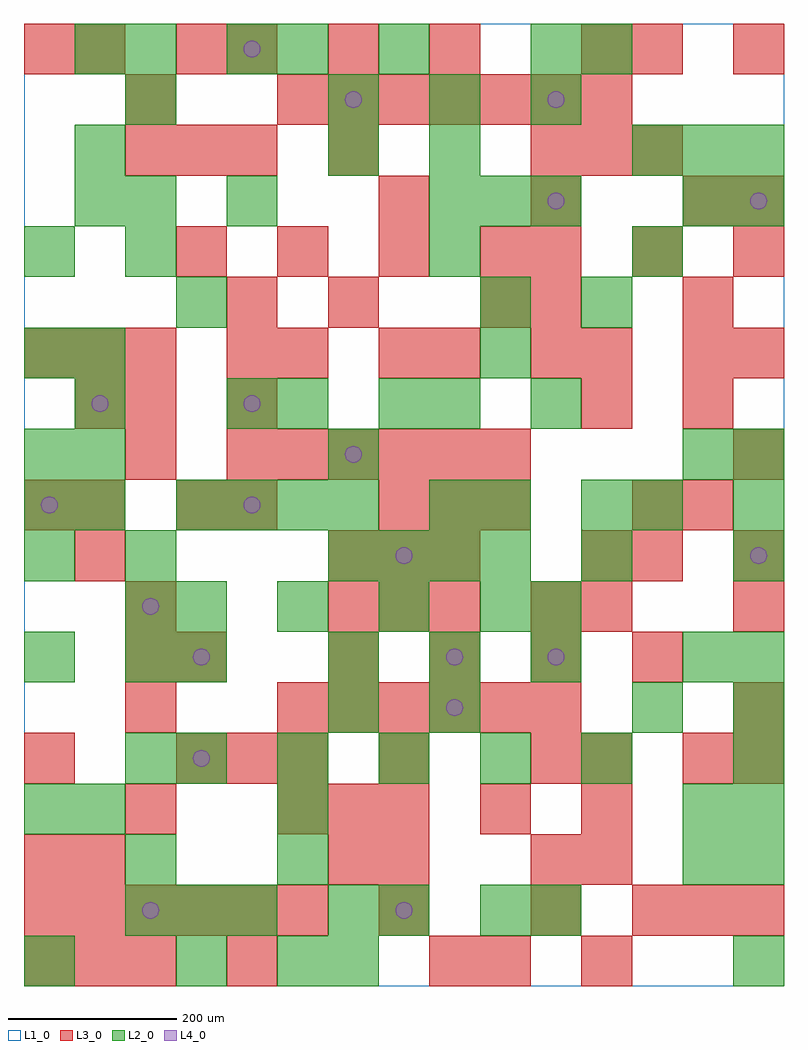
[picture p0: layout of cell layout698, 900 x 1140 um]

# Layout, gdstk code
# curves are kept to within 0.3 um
import gdstk
lib = gdstk.Library(unit=1e-6, precision=1e-09)
def R(c, l, rs):  # rectangles x0, y0, x1, y1
    for r in rs: c.add(gdstk.rectangle(r[:2], r[2:], *l))
def A(c, l, x, y, w, h, nx, ny, dx, dy):  # array of equal rectangles
    R(c, l, [(x+i*dx, y+j*dy, x+i*dx+w, y+j*dy+h) for i in range(nx) for j in range(ny)])
def P(c, l, *ps):  # polygons
    for p in ps: c.add(gdstk.Polygon(p, *l))
L1_0 = (1, 0)
L2_0 = (2, 0)
L3_0 = (3, 0)
L4_0 = (4, 0)

layout698 = lib.new_cell('layout698')
R(layout698, L1_0, [(0,0,900,1140)])
A(layout698, L2_0, 0, 0, 60, 60, 1, 3, 0, 180)
A(layout698, L2_0, 120, 60, 60, 60, 3, 1, 60, 0)
A(layout698, L2_0, 120, 120, 60, 60, 1, 3, 0, 120)
A(layout698, L2_0, 840, 120, 60, 60, 1, 5, 0, 60)
A(layout698, L2_0, 180, 240, 60, 60, 5, 1, 120, 0)
A(layout698, L2_0, 360, 360, 60, 60, 3, 2, 120, 660)
A(layout698, L2_0, 180, 420, 60, 60, 4, 1, 120, 0)
A(layout698, L2_0, 0, 480, 60, 60, 1, 3, 0, 60)
A(layout698, L2_0, 360, 480, 60, 60, 4, 1, 60, 0)
A(layout698, L2_0, 840, 480, 60, 60, 1, 3, 0, 60)
A(layout698, L2_0, 60, 540, 60, 60, 1, 4, 0, 60)
A(layout698, L2_0, 180, 540, 60, 60, 4, 1, 60, 0)
A(layout698, L2_0, 480, 900, 60, 60, 3, 1, 60, 0)
A(layout698, L2_0, 720, 960, 60, 60, 3, 1, 60, 0)
R(layout698, L2_0, [(180,0,240,60), (300,0,360,60), (360,0,420,60), (840,0,900,60), (360,60,420,120), (420,60,480,120), (540,60,600,120), (600,60,660,120), (300,120,360,180), (780,120,840,180), (60,180,120,240), (300,180,360,240), (780,180,840,240), (360,300,420,360), (480,300,540,360), (720,300,780,360), (180,360,240,420), (780,360,840,420), (120,420,180,480), (600,420,660,480), (120,480,180,540), (660,480,720,540), (480,540,540,600), (540,540,600,600), (660,540,720,600), (720,540,780,600), (360,600,420,660), (780,600,840,660), (240,660,300,720), (300,660,360,720), (420,660,480,720), (480,660,540,720), (600,660,660,720), (0,720,60,780), (540,720,600,780), (180,780,240,840), (540,780,600,840), (660,780,720,840), (0,840,60,900), (120,840,180,900), (480,840,540,900), (720,840,780,900), (60,900,120,960), (120,900,180,960), (240,900,300,960), (780,900,840,960), (840,900,900,960), (60,960,120,1020), (360,960,420,1020), (480,960,540,1020), (120,1020,180,1080), (60,1080,120,1140), (120,1080,180,1140), (240,1080,300,1140), (300,1080,360,1140), (420,1080,480,1140), (600,1080,660,1140), (660,1080,720,1140)])
A(layout698, L3_0, 0, 0, 60, 60, 3, 2, 60, 720)
A(layout698, L3_0, 0, 60, 60, 60, 6, 1, 60, 0)
A(layout698, L3_0, 720, 60, 60, 60, 3, 1, 60, 0)
A(layout698, L3_0, 660, 120, 60, 60, 1, 3, 0, 60)
A(layout698, L3_0, 300, 180, 60, 60, 3, 1, 60, 0)
A(layout698, L3_0, 180, 240, 60, 60, 3, 1, 60, 0)
A(layout698, L3_0, 120, 300, 60, 60, 1, 3, 0, 60)
A(layout698, L3_0, 300, 300, 60, 60, 6, 1, 60, 0)
A(layout698, L3_0, 360, 360, 60, 60, 4, 1, 120, 0)
A(layout698, L3_0, 360, 420, 60, 60, 3, 2, 60, 60)
A(layout698, L3_0, 840, 480, 60, 60, 1, 3, 0, 120)
A(layout698, L3_0, 420, 540, 60, 60, 3, 1, 60, 0)
A(layout698, L3_0, 240, 600, 60, 60, 6, 1, 60, 0)
A(layout698, L3_0, 240, 660, 60, 60, 1, 3, 0, 60)
A(layout698, L3_0, 780, 660, 60, 60, 1, 3, 0, 60)
A(layout698, L3_0, 180, 840, 60, 60, 4, 1, 120, 0)
A(layout698, L3_0, 600, 840, 60, 60, 3, 1, 120, 0)
A(layout698, L3_0, 420, 900, 60, 60, 3, 1, 180, 0)
A(layout698, L3_0, 120, 960, 60, 60, 3, 1, 60, 0)
A(layout698, L3_0, 600, 960, 60, 60, 3, 1, 60, 0)
A(layout698, L3_0, 300, 1020, 60, 60, 7, 1, 60, 0)
A(layout698, L3_0, 240, 1080, 60, 60, 3, 1, 120, 0)
R(layout698, L3_0, [(240,0,300,60), (480,0,540,60), (540,0,600,60), (660,0,720,60), (420,60,480,120), (600,60,660,120), (0,120,60,180), (60,120,120,180), (360,120,420,180), (420,120,480,180), (600,120,660,180), (120,180,180,240), (540,180,600,240), (0,240,60,300), (420,240,480,300), (600,240,660,300), (780,240,840,300), (840,240,900,300), (840,300,900,360), (180,360,240,420), (600,420,660,480), (660,420,720,480), (840,420,900,480), (60,480,120,540), (660,480,720,540), (720,480,780,540), (0,540,60,600), (60,540,120,600), (180,540,240,600), (240,540,300,600), (720,540,780,600), (780,540,840,600), (120,600,180,660), (60,660,120,720), (120,660,180,720), (660,660,720,720), (300,720,360,780), (420,720,480,780), (480,720,540,780), (600,720,660,780), (660,720,720,780), (360,780,420,840), (540,780,600,840), (600,780,660,840), (840,900,900,960), (360,960,420,1020), (120,1020,180,1080), (0,1080,60,1140), (60,1080,120,1140), (180,1080,240,1140), (660,1080,720,1140), (720,1080,780,1140), (840,1080,900,1140)])
P(layout698, L4_0, [(40,570),(39.239,573.827),(37.071,577.071),(33.827,579.239),(30,580),(26.173,579.239),(22.929,577.071),(20.761,573.827),(20,570),(20.761,566.173),(22.929,562.929),(26.173,560.761),(30,560),(33.827,560.761),(37.071,562.929),(39.239,566.173)],
  [(100,690),(99.239,693.827),(97.071,697.071),(93.827,699.239),(90,700),(86.173,699.239),(82.929,697.071),(80.761,693.827),(80,690),(80.761,686.173),(82.929,682.929),(86.173,680.761),(90,680),(93.827,680.761),(97.071,682.929),(99.239,686.173)],
  [(160,90),(159.239,93.827),(157.071,97.071),(153.827,99.239),(150,100),(146.173,99.239),(142.929,97.071),(140.761,93.827),(140,90),(140.761,86.173),(142.929,82.929),(146.173,80.761),(150,80),(153.827,80.761),(157.071,82.929),(159.239,86.173)],
  [(160,450),(159.239,453.827),(157.071,457.071),(153.827,459.239),(150,460),(146.173,459.239),(142.929,457.071),(140.761,453.827),(140,450),(140.761,446.173),(142.929,442.929),(146.173,440.761),(150,440),(153.827,440.761),(157.071,442.929),(159.239,446.173)],
  [(220,270),(219.239,273.827),(217.071,277.071),(213.827,279.239),(210,280),(206.173,279.239),(202.929,277.071),(200.761,273.827),(200,270),(200.761,266.173),(202.929,262.929),(206.173,260.761),(210,260),(213.827,260.761),(217.071,262.929),(219.239,266.173)],
  [(220,390),(219.239,393.827),(217.071,397.071),(213.827,399.239),(210,400),(206.173,399.239),(202.929,397.071),(200.761,393.827),(200,390),(200.761,386.173),(202.929,382.929),(206.173,380.761),(210,380),(213.827,380.761),(217.071,382.929),(219.239,386.173)],
  [(280,570),(279.239,573.827),(277.071,577.071),(273.827,579.239),(270,580),(266.173,579.239),(262.929,577.071),(260.761,573.827),(260,570),(260.761,566.173),(262.929,562.929),(266.173,560.761),(270,560),(273.827,560.761),(277.071,562.929),(279.239,566.173)],
  [(280,690),(279.239,693.827),(277.071,697.071),(273.827,699.239),(270,700),(266.173,699.239),(262.929,697.071),(260.761,693.827),(260,690),(260.761,686.173),(262.929,682.929),(266.173,680.761),(270,680),(273.827,680.761),(277.071,682.929),(279.239,686.173)],
  [(280,1110),(279.239,1113.827),(277.071,1117.071),(273.827,1119.239),(270,1120),(266.173,1119.239),(262.929,1117.071),(260.761,1113.827),(260,1110),(260.761,1106.173),(262.929,1102.929),(266.173,1100.761),(270,1100),(273.827,1100.761),(277.071,1102.929),(279.239,1106.173)],
  [(400,630),(399.239,633.827),(397.071,637.071),(393.827,639.239),(390,640),(386.173,639.239),(382.929,637.071),(380.761,633.827),(380,630),(380.761,626.173),(382.929,622.929),(386.173,620.761),(390,620),(393.827,620.761),(397.071,622.929),(399.239,626.173)],
  [(400,1050),(399.239,1053.827),(397.071,1057.071),(393.827,1059.239),(390,1060),(386.173,1059.239),(382.929,1057.071),(380.761,1053.827),(380,1050),(380.761,1046.173),(382.929,1042.929),(386.173,1040.761),(390,1040),(393.827,1040.761),(397.071,1042.929),(399.239,1046.173)],
  [(460,90),(459.239,93.827),(457.071,97.071),(453.827,99.239),(450,100),(446.173,99.239),(442.929,97.071),(440.761,93.827),(440,90),(440.761,86.173),(442.929,82.929),(446.173,80.761),(450,80),(453.827,80.761),(457.071,82.929),(459.239,86.173)],
  [(460,510),(459.239,513.827),(457.071,517.071),(453.827,519.239),(450,520),(446.173,519.239),(442.929,517.071),(440.761,513.827),(440,510),(440.761,506.173),(442.929,502.929),(446.173,500.761),(450,500),(453.827,500.761),(457.071,502.929),(459.239,506.173)],
  [(520,330),(519.239,333.827),(517.071,337.071),(513.827,339.239),(510,340),(506.173,339.239),(502.929,337.071),(500.761,333.827),(500,330),(500.761,326.173),(502.929,322.929),(506.173,320.761),(510,320),(513.827,320.761),(517.071,322.929),(519.239,326.173)],
  [(520,390),(519.239,393.827),(517.071,397.071),(513.827,399.239),(510,400),(506.173,399.239),(502.929,397.071),(500.761,393.827),(500,390),(500.761,386.173),(502.929,382.929),(506.173,380.761),(510,380),(513.827,380.761),(517.071,382.929),(519.239,386.173)],
  [(640,390),(639.239,393.827),(637.071,397.071),(633.827,399.239),(630,400),(626.173,399.239),(622.929,397.071),(620.761,393.827),(620,390),(620.761,386.173),(622.929,382.929),(626.173,380.761),(630,380),(633.827,380.761),(637.071,382.929),(639.239,386.173)],
  [(640,930),(639.239,933.827),(637.071,937.071),(633.827,939.239),(630,940),(626.173,939.239),(622.929,937.071),(620.761,933.827),(620,930),(620.761,926.173),(622.929,922.929),(626.173,920.761),(630,920),(633.827,920.761),(637.071,922.929),(639.239,926.173)],
  [(640,1050),(639.239,1053.827),(637.071,1057.071),(633.827,1059.239),(630,1060),(626.173,1059.239),(622.929,1057.071),(620.761,1053.827),(620,1050),(620.761,1046.173),(622.929,1042.929),(626.173,1040.761),(630,1040),(633.827,1040.761),(637.071,1042.929),(639.239,1046.173)],
  [(880,510),(879.239,513.827),(877.071,517.071),(873.827,519.239),(870,520),(866.173,519.239),(862.929,517.071),(860.761,513.827),(860,510),(860.761,506.173),(862.929,502.929),(866.173,500.761),(870,500),(873.827,500.761),(877.071,502.929),(879.239,506.173)],
  [(880,930),(879.239,933.827),(877.071,937.071),(873.827,939.239),(870,940),(866.173,939.239),(862.929,937.071),(860.761,933.827),(860,930),(860.761,926.173),(862.929,922.929),(866.173,920.761),(870,920),(873.827,920.761),(877.071,922.929),(879.239,926.173)])

lib.write_gds('layout698.gds')
